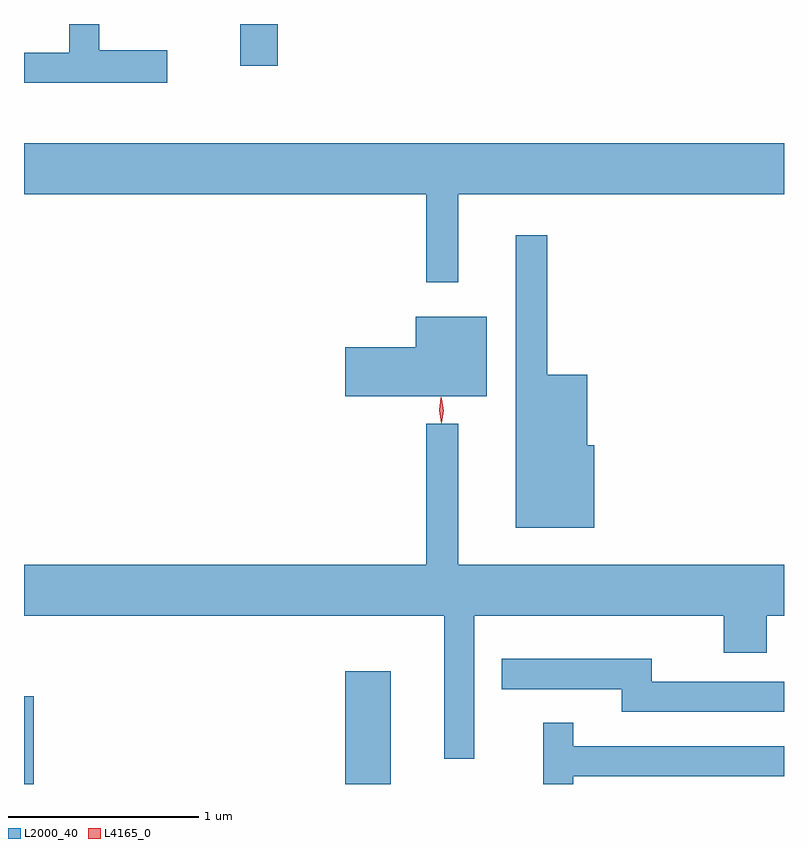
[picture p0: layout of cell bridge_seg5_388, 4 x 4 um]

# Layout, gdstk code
import gdstk
lib = gdstk.Library(unit=1e-6, precision=1e-09)
def R(c, l, rs):  # rectangles x0, y0, x1, y1
    for r in rs: c.add(gdstk.rectangle(r[:2], r[2:], *l))
def P(c, l, *ps):  # polygons
    for p in ps: c.add(gdstk.Polygon(p, *l))
L2000_40 = (2000, 40)
L4165_0 = (4165, 0)

bridge_seg5_388 = lib.new_cell('bridge_seg5_388')
R(bridge_seg5_388, L2000_40, [(436.714,1513.631,436.764,1514.094), (438.406,1513.631,438.644,1514.224), (437.851,1517.411,438.049,1517.631)])
P(bridge_seg5_388, L2000_40, [(437.469,1517.494),(437.109,1517.494),(437.109,1517.631),(436.951,1517.631),(436.951,1517.479),(436.714,1517.479),(436.714,1517.321),(437.469,1517.321)],
  [(438.999,1516.736),(440.714,1516.736),(440.714,1517.004),(436.714,1517.004),(436.714,1516.736),(438.831,1516.736),(438.831,1516.273),(438.999,1516.273)],
  [(439.714,1515.414),(439.679,1515.414),(439.679,1515.784),(439.469,1515.784),(439.469,1516.518),(439.301,1516.518),(439.301,1514.981),(439.714,1514.981)],
  [(439.149,1516.089),(438.776,1516.089),(438.776,1515.929),(438.406,1515.929),(438.406,1515.671),(439.149,1515.671)],
  [(439.084,1514.516),(440.396,1514.516),(440.396,1514.321),(440.624,1514.321),(440.624,1514.516),(440.714,1514.516),(440.714,1514.784),(438.999,1514.784),(438.999,1515.528),(438.831,1515.528),(438.831,1514.784),(436.714,1514.784),(436.714,1514.516),(438.926,1514.516),(438.926,1513.763),(439.084,1513.763)],
  [(440.714,1514.169),(440.019,1514.169),(440.019,1514.289),(439.228,1514.289),(439.228,1514.131),(439.861,1514.131),(439.861,1514.011),(440.714,1514.011)],
  [(439.604,1513.671),(440.714,1513.671),(440.714,1513.829),(439.604,1513.829),(439.604,1513.953),(439.446,1513.953),(439.446,1513.631),(439.604,1513.631)])
P(bridge_seg5_388, L4165_0, [(438.912,1515.533),(438.912,1515.533),(438.902,1515.596),(438.912,1515.659),(438.912,1515.66),(438.913,1515.659),(438.922,1515.596),(438.913,1515.533)],
  [(438.909,1515.53),(438.909,1515.53),(438.899,1515.598),(438.908,1515.666),(438.908,1515.666),(438.909,1515.666),(438.919,1515.598),(438.91,1515.53)])

lib.write_gds('bridge_seg5_388.gds')
